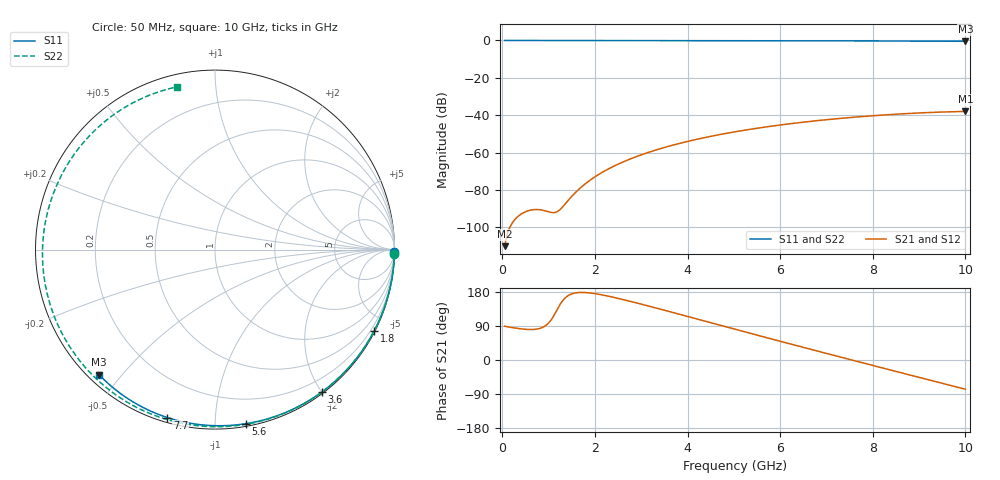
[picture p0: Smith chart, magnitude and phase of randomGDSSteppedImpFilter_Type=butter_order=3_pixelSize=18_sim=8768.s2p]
! freq	dB(S11)	phase(S11)	dB(S12)	phase(S12)
!  dB(S21)	phase(S21)	dB(S22)	phase(S22)
!S-par simulation data
#  GHz  S  DB  R 50
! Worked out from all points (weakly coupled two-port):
!   200 points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, 50 MHz to 10 GHz, reference 50 ohm
!   highest |S21| = -38.00 dB at 10 GHz (marker M1); lowest = -110.2 dB at 50 MHz (marker M2)
!   lowest |S11| = -0.4 dB at 10 GHz (marker M3), VSWR 39.06, Z = 1.52 - j21.8 ohm
!   |S11| at or under -10 dB: nowhere
!   |S22| runs from -0.6 to 0.0 dB; largest |S21 - S12| = 0
!   S11 on the Smith chart (normalised r, x): 50 MHz: open; 1.8 GHz: 0.04, -4.15; 3.6 GHz: 0.02, -2.00; 5.6 GHz: 0.02, -1.19; 7.7 GHz: 0.02, -0.76; 10 GHz: 0.03, -0.44
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0.05  -0.00 -0.8  -110.15 89.0  -110.15 89.0  -0.00 -1.5
0.8  -0.02 -12.2  -90.61 83.0  -90.61 83.0  -0.03 -22.9
1.6  -0.03 -24.2  -80.92 177.4  -80.92 177.4  -0.06 -45.1
1.65  -0.03 -24.9  -79.74 178.0  -79.74 178.0  -0.06 -46.5
1.75  -0.03 -26.4  -77.58 178.3  -77.58 178.3  -0.06 -49.2
1.8  -0.03 -27.1  -76.58 178.0  -76.58 178.0  -0.06 -50.6
2.1  -0.04 -31.5  -71.47 173.1  -71.47 173.1  -0.07 -58.6
2.5  -0.05 -37.4  -66.25 162.6  -66.25 162.6  -0.09 -69.1
2.9  -0.06 -43.1  -62.15 150.6  -62.15 150.6  -0.10 -79.3
3.4  -0.07 -50.2  -58.03 134.6  -58.03 134.6  -0.12 -91.7
3.6  -0.07 -53.0  -56.60 128.1  -56.60 128.1  -0.13 -96.5
4.3  -0.09 -62.7  -52.38 105.1  -52.38 105.1  -0.15 -113.1
5.05  -0.11 -72.7  -48.81 80.4  -48.81 80.4  -0.19 -130.3
5.6  -0.13 -79.9  -46.65 62.4  -46.65 62.4  -0.22 -142.8
6.15  -0.15 -86.9  -44.80 44.6  -44.80 44.6  -0.26 -155.2
6.7  -0.18 -93.7  -43.21 26.9  -43.21 26.9  -0.30 -167.7
7.2  -0.21 -99.9  -41.96 11.0  -41.96 11.0  -0.34 -179.3
7.7  -0.24 -105.9  -40.88 -4.9  -40.88 -4.9  -0.39 168.6
8.35  -0.29 -113.6  -39.72 -25.4  -39.72 -25.4  -0.45 152.1
9.15  -0.36 -122.9  -38.65 -50.6  -38.65 -50.6  -0.53 129.9
9.6  -0.40 -128.1  -38.24 -64.7  -38.24 -64.7  -0.58 116.1
10  -0.44 -132.8  -38.00 -77.1  -38.00 -77.1  -0.62 103.1
